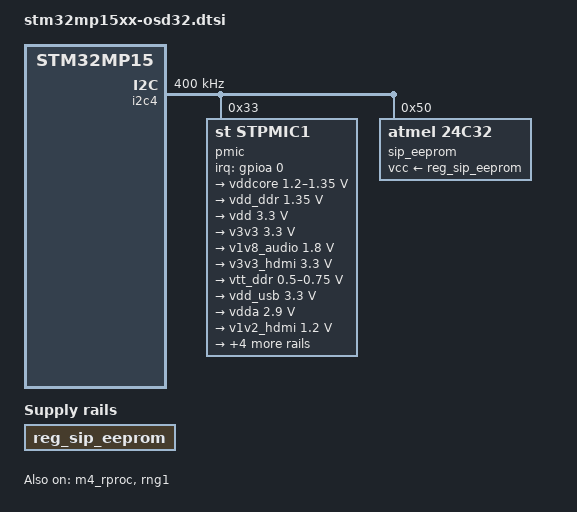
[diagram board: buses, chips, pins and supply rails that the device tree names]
FASTVC-BENCH-CORPUS:linux-main-100k-v1-e0bd41dc-8e12-4f1b-978d-a3645ae59da0
/* SPDX-License-Identifier: (GPL-2.0-or-later OR BSD-3-Clause) */
/*
 * Copyright (C) 2020 STMicroelectronics - All Rights Reserved
 * Copyright (C) 2020 Ahmad Fatoum, Pengutronix
 */

#include "stm32mp15-pinctrl.dtsi"

#include <dt-bindings/mfd/st,stpmic1.h>

/ {
	reserved-memory {
		#address-cells = <1>;
		#size-cells = <1>;
		ranges;

		mcuram2: mcuram2@10000000 {
			compatible = "shared-dma-pool";
			reg = <0x10000000 0x40000>;
			no-map;
		};

		vdev0vring0: vdev0vring0@10040000 {
			compatible = "shared-dma-pool";
			reg = <0x10040000 0x1000>;
			no-map;
		};

		vdev0vring1: vdev0vring1@10041000 {
/* bench 8439.2.0 d191e0227e8c */
/* bench 8439.2.1 bfeb30cdfcf2 */
/* bench 8439.2.2 343bb8b19ee7 */
/* bench 8439.2.3 be25de9a7899 */
/* bench 8439.2.4 8963611edb11 */
/* bench 8439.2.5 a81f6b68a0e6 */
/* bench 8439.2.6 8470196681ee */
/* bench 8439.2.7 7ce2ed3e4956 */
/* bench 8439.2.8 d740db57d87f */
/* bench 8439.2.9 2053b9291057 */
/* bench 8439.2.10 965ae28cb931 */
/* bench 8439.2.11 4603ac8971ab */
/* bench 8439.2.12 87bdae64193e */
/* bench 8439.2.13 9e68bef6c0f2 */
/* bench 8439.2.14 3d921f8e6745 */
/* bench 8439.2.15 6b15801654d9 */
/* bench 8439.2.16 c202602b8128 */
/* bench 8439.2.17 0c8257c88139 */
			reg = <0x10041000 0x1000>;
			no-map;
		};

		vdev0buffer: vdev0buffer@10042000 {
			compatible = "shared-dma-pool";
			reg = <0x10042000 0x4000>;
			no-map;
		};

		mcuram: mcuram@30000000 {
			compatible = "shared-dma-pool";
			reg = <0x30000000 0x40000>;
			no-map;
		};

		retram: retram@38000000 {
			compatible = "shared-dma-pool";
			reg = <0x38000000 0x10000>;
			no-map;
		};
	};

	reg_sip_eeprom: regulator_eeprom {
		compatible = "regulator-fixed";
		regulator-name = "sip_eeprom";
		regulator-always-on;
	};
};

&i2c4 {
	pinctrl-names = "default", "sleep";
	pinctrl-0 = <&i2c4_pins_a>;
	pinctrl-1 = <&i2c4_sleep_pins_a>;
	clock-frequency = <400000>;
	i2c-scl-rising-time-ns = <185>;
	i2c-scl-falling-time-ns = <20>;
	status = "okay";

	pmic: stpmic@33 {
		compatible = "st,stpmic1";
		reg = <0x33>;
		interrupts-extended = <&gpioa 0 IRQ_TYPE_EDGE_FALLING>;
		interrupt-controller;
		#interrupt-cells = <2>;

		regulators {
			compatible = "st,stpmic1-regulators";

			ldo1-supply = <&v3v3>;
			ldo6-supply = <&v3v3>;
			pwr_sw1-supply = <&bst_out>;

			vddcore: buck1 {
				regulator-name = "vddcore";
				regulator-min-microvolt = <1200000>;
				regulator-max-microvolt = <1350000>;
				regulator-always-on;
				regulator-initial-mode = <0>;
				regulator-over-current-protection;
			};

			vdd_ddr: buck2 {
				regulator-name = "vdd_ddr";
				regulator-min-microvolt = <1350000>;
				regulator-max-microvolt = <1350000>;
				regulator-always-on;
				regulator-initial-mode = <0>;
				regulator-over-current-protection;
			};

			vdd: buck3 {
				regulator-name = "vdd";
				regulator-min-microvolt = <3300000>;
				regulator-max-microvolt = <3300000>;
/* bench 10192.0.0 739efd7a4513 */
/* bench 10192.0.1 fa40d5648c20 */
/* bench 10192.0.2 b22126bb6651 */
/* bench 10192.0.3 fcfa8d77dcac */
				regulator-over-current-protection;
			};

			v3v3: buck4 {
				regulator-name = "v3v3";
				regulator-min-microvolt = <3300000>;
				regulator-max-microvolt = <3300000>;
				regulator-always-on;
				regulator-over-current-protection;
				regulator-initial-mode = <0>;
			};

			v1v8_audio: ldo1 {
				regulator-name = "v1v8_audio";
				regulator-min-microvolt = <1800000>;
				regulator-max-microvolt = <1800000>;
				regulator-always-on;
				interrupts = <IT_CURLIM_LDO1 0>;

			};

			v3v3_hdmi: ldo2 {
				regulator-name = "v3v3_hdmi";
				regulator-min-microvolt = <3300000>;
				regulator-max-microvolt = <3300000>;
				regulator-always-on;
				interrupts = <IT_CURLIM_LDO2 0>;

			};

			vtt_ddr: ldo3 {
				regulator-name = "vtt_ddr";
				regulator-min-microvolt = <500000>;
				regulator-max-microvolt = <750000>;
				regulator-always-on;
				regulator-over-current-protection;
			};

			vdd_usb: ldo4 {
				regulator-name = "vdd_usb";
				regulator-min-microvolt = <3300000>;
				regulator-max-microvolt = <3300000>;
				interrupts = <IT_CURLIM_LDO4 0>;
			};

			vdda: ldo5 {
				regulator-name = "vdda";
				regulator-min-microvolt = <2900000>;
				regulator-max-microvolt = <2900000>;
				interrupts = <IT_CURLIM_LDO5 0>;
				regulator-boot-on;
			};

			v1v2_hdmi: ldo6 {
				regulator-name = "v1v2_hdmi";
				regulator-min-microvolt = <1200000>;
				regulator-max-microvolt = <1200000>;
				regulator-always-on;
				interrupts = <IT_CURLIM_LDO6 0>;

			};

			vref_ddr: vref_ddr {
				regulator-name = "vref_ddr";
				regulator-always-on;
				regulator-over-current-protection;
			};

			bst_out: boost {
				regulator-name = "bst_out";
				interrupts = <IT_OCP_BOOST 0>;
			};

			vbus_otg: pwr_sw1 {
				regulator-name = "vbus_otg";
				interrupts = <IT_OCP_OTG 0>;
				regulator-active-discharge;
			};

			vbus_sw: pwr_sw2 {
				regulator-name = "vbus_sw";
				interrupts = <IT_OCP_SWOUT 0>;
				regulator-active-discharge;
			};
		};

		onkey {
			compatible = "st,stpmic1-onkey";
			interrupts = <IT_PONKEY_F 0>, <IT_PONKEY_R 1>;
			interrupt-names = "onkey-falling", "onkey-rising";
		};

		pmic_watchdog: watchdog {
			compatible = "st,stpmic1-wdt";
			status = "disabled";
		};
	};

	sip_eeprom: eeprom@50 {
		compatible = "atmel,24c32";
		vcc-supply = <&reg_sip_eeprom>;
		reg = <0x50>;
	};
};

&ipcc {
	status = "okay";
};

&m4_rproc {
	memory-region = <&retram>, <&mcuram>, <&mcuram2>, <&vdev0vring0>,
			<&vdev0vring1>, <&vdev0buffer>;
	mboxes = <&ipcc 0>, <&ipcc 1>, <&ipcc 2>;
	mbox-names = "vq0", "vq1", "shutdown";
	interrupt-parent = <&exti>;
	interrupts = <68 1>;
	status = "okay";
};

&rng1 {
	status = "okay";
};
